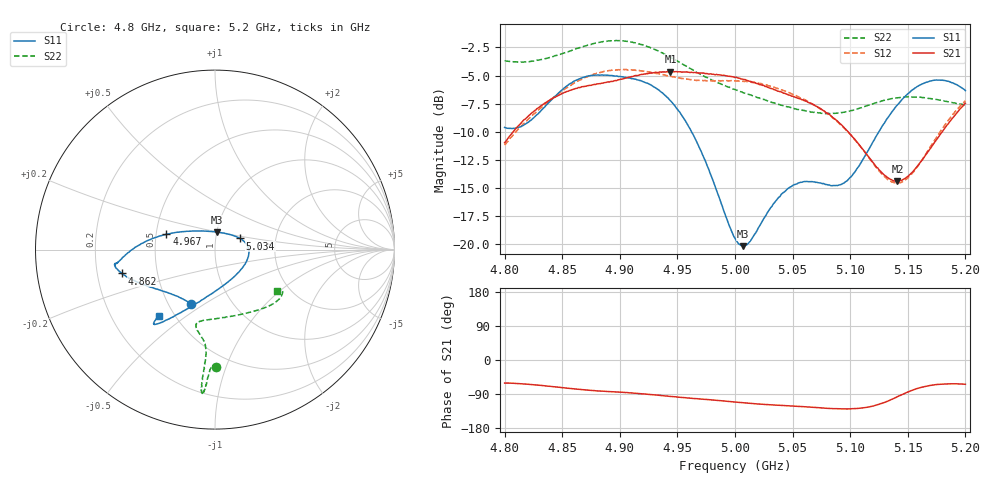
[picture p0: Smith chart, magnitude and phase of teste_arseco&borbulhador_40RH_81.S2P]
! Network Analyzer HP8722D
! Hewlett-Packard
! Data name: Linha & Wilkinson
! Saver's name: Rodrigo Anjos
! Comments: Teste da utilização de aquisição
! continua pelo VNA HP8722D
! Time and date: 15/4/2025 17:01
!  Frequency  S11  S21  S12  S22
# HZ  S  MA R 50
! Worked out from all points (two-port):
!   401 points, 4.8 GHz to 5.2 GHz, reference 50 ohm
!   highest |S21| = -4.64 dB at 4.944 GHz (marker M1); lowest = -14.4 dB at 5.141 GHz (marker M2)
!   |S21| within 3 dB of the highest: 4.832 GHz to 5.069 GHz (236.8 MHz wide, 4.78 % of centre); 5.198353 GHz to end of sweep
!   lowest |S11| = -20.2 dB at 5.007 GHz (marker M3), VSWR 1.22, Z = 50.2 + j9.87 ohm
!   |S11| at or under -10 dB: 4.962 GHz to 5.125 GHz (162.6 MHz wide, 3.22 % of centre)
!   |S22| runs from -8.4 to -1.9 dB; largest |S21 - S12| = 0.88
!   S11 on the Smith chart (normalised r, x): 4.8 GHz: 0.65, -0.44; 4.862 GHz: 0.31, -0.11; 4.967 GHz: 0.57, +0.11; 5.034 GHz: 1.31, +0.17; 5.2 GHz: 0.41, -0.40
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4.8e9  0.3308 -113.6  0.2827 -60.9  0.2762 -175.0  0.6545 -89.5
4.819e9  0.345 -133.6  0.3651 -63.8  0.3527 -173.3  0.6487 -91.1
4.839e9  0.4303 -152.0  0.4366 -69.2  0.4355 -173.5  0.6765 -92.4
4.862e9  0.5356 -165.7  0.4933 -76.5  0.526 -176.4  0.7405 -93.5
4.867e9  0.5493 -167.5  0.5019 -78.1  0.5414 -177.5  0.755 -93.8
4.901e9  0.5564 -172.0  0.5415 -85.0  0.597 175.6  0.8029 -95.2
4.934e9  0.4848 -178.0  0.5816 -93.2  0.5724 172.1  0.7188 -95.6
4.944e9  0.4344 177.5  0.586 -96.2  0.5577 172.1  0.6781 -95.4
4.967e9  0.2836 162.4  0.5781 -102.0  0.535 174.1  0.5796 -94.9
5e9  0.1062 106.8  0.5511 -110.9  0.5331 176.3  0.4876 -99.2
5.007e9  0.09809 83.2  0.5416 -112.7  0.5308 176.5  0.472 -100.9
5.014e9  0.1046 60.9  0.5291 -114.6  0.5261 176.4  0.4604 -102.5
5.034e9  0.1526 24.0  0.4864 -118.9  0.4984 175.3  0.4254 -104.1
5.049e9  0.1807 7.9  0.4553 -121.4  0.4672 174.6  0.4047 -100.7
5.067e9  0.1899 -11.5  0.4196 -124.6  0.4213 174.0  0.3878 -91.9
5.085e9  0.1824 -39.9  0.3657 -128.5  0.3635 173.9  0.3825 -78.4
5.097e9  0.1909 -65.1  0.3207 -129.1  0.3199 174.5  0.3883 -68.5
5.134e9  0.3736 -116.1  0.1957 -106.7  0.1921 -159.5  0.4417 -43.3
5.141e9  0.4168 -120.1  0.1906 -96.7  0.1872 -148.6  0.4481 -40.3
5.153e9  0.4813 -125.0  0.207 -80.8  0.2046 -130.0  0.452 -35.9
5.171e9  0.5336 -128.7  0.2733 -66.5  0.2779 -112.3  0.4431 -31.8
5.2e9  0.4821 -130.4  0.4233 -64.0  0.4349 -106.1  0.4159 -33.4
